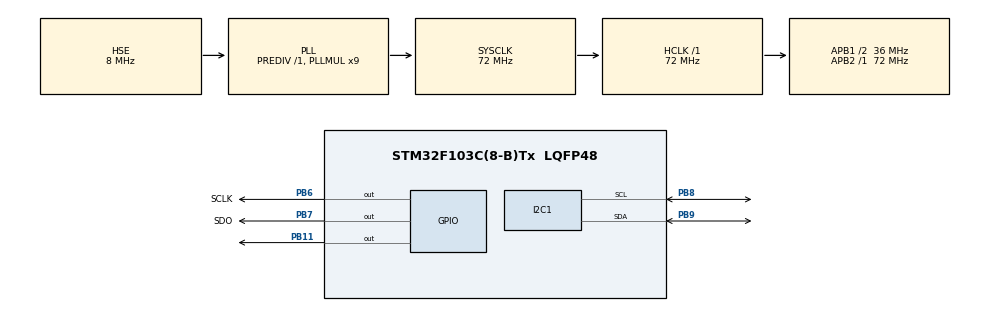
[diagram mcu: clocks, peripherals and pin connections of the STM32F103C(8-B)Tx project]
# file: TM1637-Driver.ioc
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Mcu.Family=STM32F1
Mcu.Name=STM32F103C(8-B)Tx
Mcu.Package=LQFP48
NVIC.PriorityGroup=NVIC_PRIORITYGROUP_4
PA13.Mode=Serial_Wire
PA13.Signal=SYS_JTMS-SWDIO
PA14.Mode=Serial_Wire
PA14.Signal=SYS_JTCK-SWCLK
PB11.Signal=GPIO_Output
PB6.GPIO_Label=SCLK
PB6.Signal=GPIO_Output
PB7.GPIO_Label=SDO
PB7.Signal=GPIO_Output
PB8.Mode=I2C
PB8.Signal=I2C1_SCL
PB9.Mode=I2C
PB9.Signal=I2C1_SDA
PD0-OSC_IN.Mode=HSE-External-Oscillator
PD0-OSC_IN.Signal=RCC_OSC_IN
PD1-OSC_OUT.Mode=HSE-External-Oscillator
PD1-OSC_OUT.Signal=RCC_OSC_OUT
ProjectManager.HeapSize=0x200
ProjectManager.StackSize=0x400
ProjectManager.TargetToolchain=STM32CubeIDE
RCC.AHBFreq_Value=72000000
RCC.APB1CLKDivider=RCC_HCLK_DIV2
RCC.APB1Freq_Value=36000000
RCC.APB1TimFreq_Value=72000000
RCC.APB2Freq_Value=72000000
RCC.APB2TimFreq_Value=72000000
RCC.HCLKFreq_Value=72000000
RCC.PLLMUL=RCC_PLL_MUL9
RCC.PLLSourceVirtual=RCC_PLLSOURCE_HSE
RCC.SYSCLKFreq_VALUE=72000000
RCC.SYSCLKSource=RCC_SYSCLKSOURCE_PLLCLK
RCC.USBFreq_Value=72000000
board=custom

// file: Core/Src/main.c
/* USER CODE BEGIN Header */
/**
  ******************************************************************************
  * @file           : main.c
  * @brief          : Main program body
  ******************************************************************************
  * @attention
  *
  * <h2><center>&copy; Copyright (c) 2020 STMicroelectronics.
  * All rights reserved.</center></h2>
  *
  * This software component is licensed by ST under BSD 3-Clause license,
  * the "License"; You may not use this file except in compliance with the
  * License. You may obtain a copy of the License at:
  *                        opensource.org/licenses/BSD-3-Clause
  *
  ******************************************************************************
  */
/* USER CODE END Header */
#include "main.h"

/* USER CODE BEGIN Includes */
#include "tm1637.h"
/* USER CODE END Includes */

I2C_HandleTypeDef hi2c1;

void SystemClock_Config(void);
static void MX_GPIO_Init(void);
static void MX_I2C1_Init(void);

int main(void)
{

  /* MCU Configuration--------------------------------------------------------*/

  /* Reset of all peripherals, Initializes the Flash interface and the Systick. */
  HAL_Init();

  /* Configure the system clock */
  SystemClock_Config();

  /* Initialize all configured peripherals */
  MX_GPIO_Init();
  MX_I2C1_Init();
  /* USER CODE BEGIN 2 */
  HAL_GPIO_WritePin(SCLK_GPIO_Port, SCLK_Pin, GPIO_PIN_SET);
  HAL_GPIO_WritePin(SDO_GPIO_Port, SDO_Pin, GPIO_PIN_SET);
  uint8_t buffer[10] = {0};
//  buffer[0] = DATA_SET;
//  buffer[1] = C0H;
//  buffer[2] = 0xFF;
//  buffer[3] = DISPLAY_ON;
//  tm1637_TxData(1, buffer, 1);
  buffer[0] = DATA_SET;
  tm1637_TxCommand(buffer);
  tm1637_EndPacket();
  buffer[0] = C0H;
//  HAL_Delay(1);
//  HAL_GPIO_WritePin(SCLK_GPIO_Port, SCLK_Pin, GPIO_PIN_RESET);
  tm1637_TxCommand(buffer);
  buffer[0] = 0x7C;
  buffer[1] = 0x79;
  buffer[2] = 0x7C;
  buffer[3] = 0x04;
//  HAL_Delay(1);
//  tm1637_SartPacket();
  tm1637_TxData(1, buffer, 4);
  tm1637_EndPacket();
  buffer[0] = DISPLAY_ON;
//  HAL_Delay(1);
  tm1637_TxCommand(buffer);

  tm1637_EndPacket();
//  HAL_GPIO_WritePin(SDO_GPIO_Port, SDO_Pin, GPIO_PIN_SET);

//  buffer[0] = C0H;
//  buffer[1] = 0xAA;
//  buffer[2] = DISPLAY_ON;
//  HAL_I2C_Master_Transmit(&hi2c1, DATA_SET>>1, buffer, 3, 5);

  /* USER CODE END 2 */

  /* Infinite loop */
  while (1)
  {

  }
}

void SystemClock_Config(void)
{
  RCC_OscInitTypeDef RCC_OscInitStruct = {0};
  RCC_ClkInitTypeDef RCC_ClkInitStruct = {0};

  /** Initializes the RCC Oscillators according to the specified parameters
  * in the RCC_OscInitTypeDef structure.
  */
  RCC_OscInitStruct.OscillatorType = RCC_OSCILLATORTYPE_HSE;
  RCC_OscInitStruct.HSEState = RCC_HSE_ON;
  RCC_OscInitStruct.HSEPredivValue = RCC_HSE_PREDIV_DIV1;
  RCC_OscInitStruct.HSIState = RCC_HSI_ON;
  RCC_OscInitStruct.PLL.PLLState = RCC_PLL_ON;
  RCC_OscInitStruct.PLL.PLLSource = RCC_PLLSOURCE_HSE;
  RCC_OscInitStruct.PLL.PLLMUL = RCC_PLL_MUL9;
  if (HAL_RCC_OscConfig(&RCC_OscInitStruct) != HAL_OK)
  {
    Error_Handler();
  }
  /** Initializes the CPU, AHB and APB buses clocks
  */
  RCC_ClkInitStruct.ClockType = RCC_CLOCKTYPE_HCLK|RCC_CLOCKTYPE_SYSCLK
                              |RCC_CLOCKTYPE_PCLK1|RCC_CLOCKTYPE_PCLK2;
  RCC_ClkInitStruct.SYSCLKSource = RCC_SYSCLKSOURCE_PLLCLK;
  RCC_ClkInitStruct.AHBCLKDivider = RCC_SYSCLK_DIV1;
  RCC_ClkInitStruct.APB1CLKDivider = RCC_HCLK_DIV2;
  RCC_ClkInitStruct.APB2CLKDivider = RCC_HCLK_DIV1;

  if (HAL_RCC_ClockConfig(&RCC_ClkInitStruct, FLASH_LATENCY_2) != HAL_OK)
  {
    Error_Handler();
  }
}

static void MX_I2C1_Init(void)
{

  hi2c1.Instance = I2C1;
  hi2c1.Init.ClockSpeed = 100000;
  hi2c1.Init.DutyCycle = I2C_DUTYCYCLE_2;
  hi2c1.Init.OwnAddress1 = 0;
  hi2c1.Init.AddressingMode = I2C_ADDRESSINGMODE_7BIT;
  hi2c1.Init.DualAddressMode = I2C_DUALADDRESS_DISABLE;
  hi2c1.Init.OwnAddress2 = 0;
  hi2c1.Init.GeneralCallMode = I2C_GENERALCALL_DISABLE;
  hi2c1.Init.NoStretchMode = I2C_NOSTRETCH_DISABLE;
  if (HAL_I2C_Init(&hi2c1) != HAL_OK)
  {
    Error_Handler();
  }

}

static void MX_GPIO_Init(void)
{
  GPIO_InitTypeDef GPIO_InitStruct = {0};

  /* GPIO Ports Clock Enable */
  __HAL_RCC_GPIOD_CLK_ENABLE();
  __HAL_RCC_GPIOB_CLK_ENABLE();
  __HAL_RCC_GPIOA_CLK_ENABLE();

  /*Configure GPIO pin Output Level */
  HAL_GPIO_WritePin(GPIOB, GPIO_PIN_11|SCLK_Pin|SDO_Pin, GPIO_PIN_SET);

  /*Configure GPIO pins : PB11 SCLK_Pin SDO_Pin */
  GPIO_InitStruct.Pin = GPIO_PIN_11|SCLK_Pin|SDO_Pin;
  GPIO_InitStruct.Mode = GPIO_MODE_OUTPUT_PP;
  GPIO_InitStruct.Pull = GPIO_NOPULL;
  GPIO_InitStruct.Speed = GPIO_SPEED_FREQ_LOW;
  HAL_GPIO_Init(GPIOB, &GPIO_InitStruct);

}

void Error_Handler(void)
{
}

/************************ (C) COPYRIGHT STMicroelectronics *****END OF FILE****/
